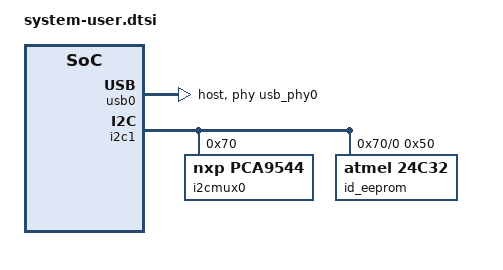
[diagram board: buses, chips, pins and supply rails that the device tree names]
/include/ "system-conf.dtsi"
/ {
};
 
 
/* USB PHY */
 
/{
    usb_phy0: usb_phy@0 {
        compatible = "ulpi-phy";
        #phy-cells = <0>;
        reg = <0xe0002000 0x1000>;
        view-port = <0x0170>;
        drv-vbus;
    };
};
 
&usb0 {
    dr_mode = "host";
    //dr_mode = "peripheral";
    usb-phy = <&usb_phy0>;
};
 
/* I2C1 */
 
&i2c1 {
    #address-cells = <1>;
    #size-cells = <0>;
 
    i2cmux0: i2cmux@70  {
        compatible = "nxp,pca9544";
        #address-cells = <1>;
        #size-cells = <0>;
        reg = <0x70>;
 
 
        i2c1@0 {
            #address-cells = <1>;
            #size-cells = <0>;
            reg = <0>;
 
            id_eeprom@50 {
                compatible = "atmel,24c32";
                reg = <0x50>;
            };
 
        };
        i2c1@1 {    // Display Interface Connector
            #address-cells = <1>;
            #size-cells = <0>;
            reg = <1>;
        };
        i2c1@2 {    // HDMI Interface Connector
            #address-cells = <1>;
            #size-cells = <0>;
            reg = <2>;
        };
        i2c1@3 {    // Camera Interface Connector
            #address-cells = <1>;
            #size-cells = <0>;
            reg = <3>;
        };
    };
 
};

